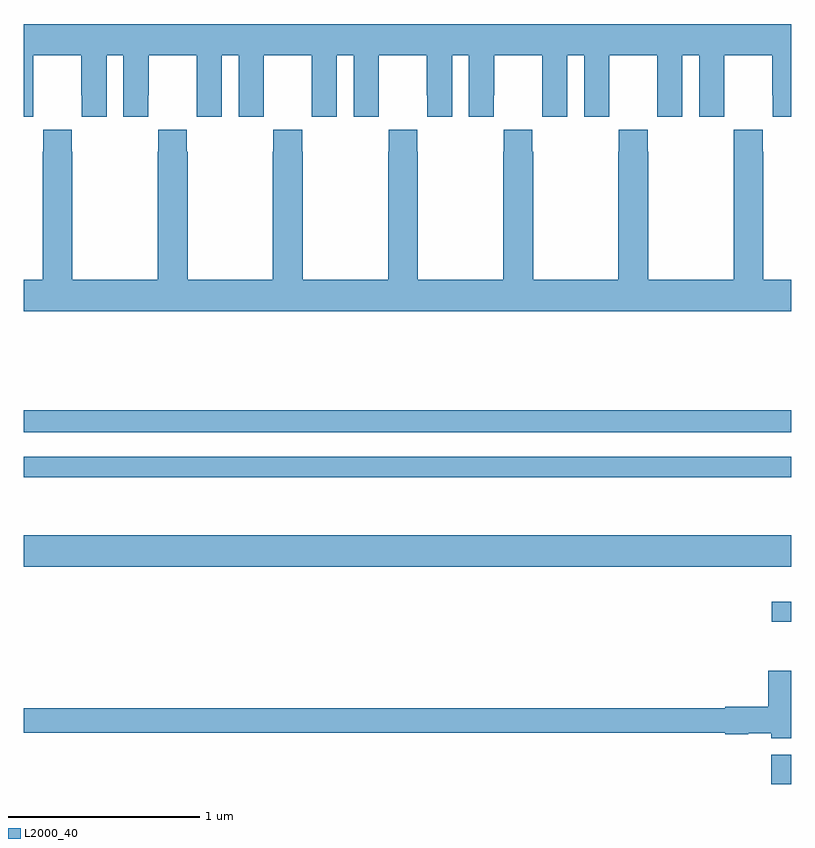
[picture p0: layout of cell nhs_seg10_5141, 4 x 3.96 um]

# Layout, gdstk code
import gdstk
lib = gdstk.Library(unit=1e-6, precision=1e-09)
def R(c, l, rs):  # rectangles x0, y0, x1, y1
    for r in rs: c.add(gdstk.rectangle(r[:2], r[2:], *l))
def P(c, l, *ps):  # polygons
    for p in ps: c.add(gdstk.Polygon(p, *l))
L2000_40 = (2000, 40)

nhs_seg10_5141 = lib.new_cell('nhs_seg10_5141')
R(nhs_seg10_5141, L2000_40, [(412.895,1316.5,413,1316.653), (412.899,1317.346,413,1317.449), (409,1317.632,413,1317.796), (409,1318.098,413,1318.206), (409,1318.332,413,1318.448)])
P(nhs_seg10_5141, L2000_40, [(409.05,1320.088),(409.051,1320.088),(409.051,1320.296),(409.301,1320.296),(409.301,1320.088),(409.302,1320.088),(409.302,1319.976),(409.432,1319.976),(409.432,1320.296),(409.52,1320.296),(409.52,1319.976),(409.65,1319.976),(409.65,1320.088),(409.651,1320.088),(409.651,1320.296),(409.901,1320.296),(409.901,1320.088),(409.902,1320.088),(409.902,1319.976),(410.032,1319.976),(410.032,1320.296),(410.12,1320.296),(410.12,1319.976),(410.25,1319.976),(410.25,1320.088),(410.251,1320.088),(410.251,1320.296),(410.501,1320.296),(410.501,1320.088),(410.502,1320.088),(410.502,1319.976),(410.632,1319.976),(410.632,1320.296),(410.72,1320.296),(410.72,1319.976),(410.85,1319.976),(410.85,1320.088),(410.851,1320.088),(410.851,1320.296),(411.101,1320.296),(411.101,1320.088),(411.102,1320.088),(411.102,1319.976),(411.232,1319.976),(411.232,1320.296),(411.32,1320.296),(411.32,1319.976),(411.45,1319.976),(411.45,1320.088),(411.451,1320.088),(411.451,1320.296),(411.701,1320.296),(411.701,1320.088),(411.702,1320.088),(411.702,1319.976),(411.832,1319.976),(411.832,1320.296),(411.92,1320.296),(411.92,1319.976),(412.05,1319.976),(412.05,1320.088),(412.051,1320.088),(412.051,1320.296),(412.301,1320.296),(412.301,1320.088),(412.302,1320.088),(412.302,1319.976),(412.432,1319.976),(412.432,1320.296),(412.52,1320.296),(412.52,1319.976),(412.65,1319.976),(412.65,1320.088),(412.651,1320.088),(412.651,1320.296),(412.901,1320.296),(412.901,1320.088),(412.902,1320.088),(412.902,1319.976),(413,1319.976),(413,1320.46),(409,1320.46),(409,1319.976),(409.05,1319.976)],
  [(412.101,1319.908),(412.101,1319.795),(412.099,1319.795),(412.099,1319.128),(411.654,1319.128),(411.654,1319.795),(411.651,1319.795),(411.651,1319.908),(411.501,1319.908),(411.501,1319.795),(411.499,1319.795),(411.499,1319.128),(411.054,1319.128),(411.054,1319.795),(411.051,1319.795),(411.051,1319.908),(410.901,1319.908),(410.901,1319.795),(410.899,1319.795),(410.899,1319.128),(410.454,1319.128),(410.454,1319.795),(410.451,1319.795),(410.451,1319.908),(410.301,1319.908),(410.301,1319.795),(410.299,1319.795),(410.299,1319.128),(409.854,1319.128),(409.854,1319.795),(409.851,1319.795),(409.851,1319.908),(409.701,1319.908),(409.701,1319.795),(409.699,1319.795),(409.699,1319.128),(409.254,1319.128),(409.254,1319.795),(409.251,1319.795),(409.251,1319.908),(409.101,1319.908),(409.101,1319.795),(409.099,1319.795),(409.099,1319.128),(409,1319.128),(409,1318.964),(413,1318.964),(413,1319.128),(412.854,1319.128),(412.854,1319.795),(412.851,1319.795),(412.851,1319.908),(412.701,1319.908),(412.701,1319.795),(412.699,1319.795),(412.699,1319.128),(412.254,1319.128),(412.254,1319.795),(412.251,1319.795),(412.251,1319.908)],
  [(413,1317.091),(412.88,1317.091),(412.88,1316.902),(412.656,1316.902),(412.656,1316.894),(409,1316.894),(409,1316.766),(412.656,1316.766),(412.656,1316.758),(412.776,1316.758),(412.776,1316.765),(412.896,1316.765),(412.896,1316.738),(413,1316.738)])

lib.write_gds('nhs_seg10_5141.gds')
